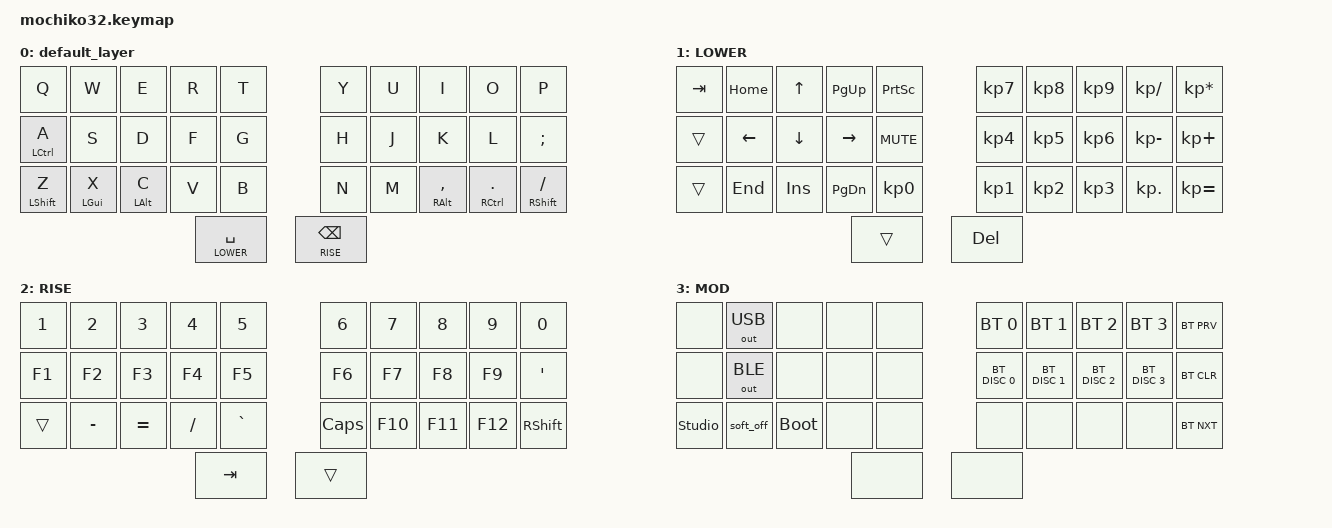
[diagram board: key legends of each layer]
#include <behaviors.dtsi>
#include <dt-bindings/zmk/keys.h>
#include <dt-bindings/zmk/bt.h>
#include <dt-bindings/zmk/outputs.h>


#define BASE   0
#define LOWER  1
#define RISE   2
#define MOD    3
&mt {
    flavor = "tap-preferred";
    tapping-term-ms = <225>;
    quick-tap-ms = <200>;
    require-prior-idle-ms = <150>;
};

&lt {
    flavor = "balanced";
    tapping-term-ms = <175>;
    quick-tap-ms = <200>;
};
/ {


          behaviors {
            soff: soft_off {
                compatible = "zmk,behavior-soft-off";
                #binding-cells = <0>;
                hold-time-ms = <3000>;
                };
        };
    combos {
        compatible = "zmk,combos";

        Combo1 {
            bindings = <&kp ESCAPE>;
            key-positions = <0 1>;
            layers = <0>;
        };

        Combo2 {
            bindings = <&kp LEFT_BRACKET>;
            key-positions = <8 7>;
            layers = <0>;
        };

        Combo3 {
            bindings = <&kp RIGHT_BRACKET>;
            key-positions = <8 9>;
            layers = <0>;
        };

        Combo4 {
            bindings = <&kp ENTER>;
            key-positions = <18 19>;
            layers = <0>;
        };
         Combo5 {
            bindings = <&mo MOD>;
            key-positions = <30 31>;
            layers = <0>;
        };
         Combo6 {
            bindings = <&kp MINUS>;
            key-positions = <25 31>;
            layers = <0>;
        };
         Combo7 {
            bindings = <&kp GRAVE>;
            key-positions = <7 8>;
            layers = <2>;
        };
         Combo8 {
            bindings = <&kp BSLH>;
            key-positions = <8 9>;
            layers = <2>;
        };

    };
    
    keymap {
        compatible = "zmk,keymap";

        default_layer {
            bindings = <
                &kp Q        &kp W       &kp E       &kp R       &kp T      &kp Y        &kp U       &kp I          &kp O          &kp P
                &mt LCTRL A  &kp S       &kp D       &kp F       &kp G      &kp H        &kp J       &kp K          &kp L          &kp SEMICOLON
                &mt LSHIFT Z &mt LGUI X  &mt LALT C  &kp V       &kp B      &kp N        &kp M       &mt RALT COMMA &mt RCTRL DOT  &mt RSHIFT SLASH
                                                                 &lt LOWER SPACE         &lt RISE BACKSPACE
            >;
        };

        lower_layer {
            display-name = "LOWER";
            bindings = <
                &kp TAB      &kp HOME    &kp UP      &kp PG_UP   &kp PSCRN  &kp KP_N7    &kp KP_N8   &kp KP_N9      &kp KP_SLASH   &kp KP_MULTIPLY
                &trans       &kp LEFT    &kp DOWN    &kp RIGHT   &kp C_MUTE &kp KP_N4    &kp KP_N5   &kp KP_N6      &kp KP_MINUS   &kp KP_PLUS
                &trans       &kp END     &kp INSERT  &kp PG_DN   &kp KP_N0  &kp KP_N1    &kp KP_N2   &kp KP_N3      &kp KP_DOT     &kp KP_EQUAL
                                                                 &trans                  &kp DELETE
            >;
        };

        rise_layer {
            display-name = "RISE";
            bindings = <
                &kp N1       &kp N2      &kp N3      &kp N4      &kp N5     &kp N6       &kp N7      &kp N8         &kp N9         &kp N0
                &kp F1       &kp F2      &kp F3      &kp F4      &kp F5     &kp F6       &kp F7      &kp F8         &kp F9         &kp SINGLE_QUOTE
                &trans       &kp MINUS   &kp EQUAL   &kp SLASH   &kp GRAVE  &kp CAPS     &kp F10     &kp F11        &kp F12        &kp RSHIFT
                                                                 &kp TAB                 &trans
            >;
        };

        mod_layer {
            display-name = "MOD";
            bindings = <
                &none          &out OUT_USB &none &none &none &bt BT_SEL 0  &bt BT_SEL 1  &bt BT_SEL 2 &bt BT_SEL 3    &bt BT_PRV
                &none          &out OUT_BLE &none &none &none &bt BT_DISC 0 &bt BT_DISC 1 &bt BT_DISC 2 &bt BT_DISC 3 &bt BT_CLR
                &studio_unlock &soft_off    &bootloader &none &none &none         &none         &none         &none         &bt BT_NXT
                                                        &none                     &none
            >;
        };



    };
};
